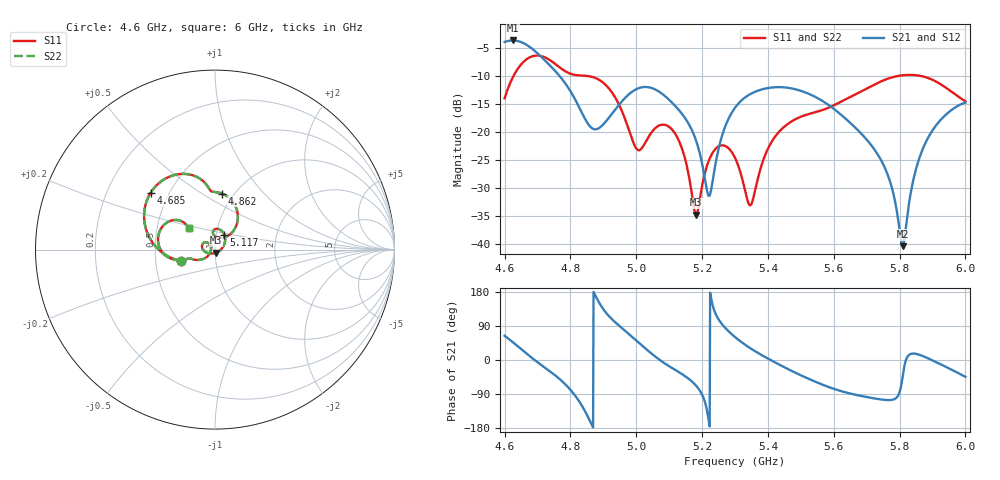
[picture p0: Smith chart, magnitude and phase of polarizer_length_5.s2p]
! TOUCHSTONE file generated by CST MICROWAVE STUDIO
! Date and time: Sun Dec  1 17:16:58 2024
! Project name: test_tuning.cst
! Parameters = {airCoaxOuterDiameter=3; chamferAngle=45; chamferWidth=24; connectorLength=10; drillingHoleDiameter=4.1; feedLength=60; flareDiameter=130; flareLength=70; gratingDistance=0; gratingGap=1.90274; outletLength=30; polarizerLength=72; probe1Diameter=1.3; probe1Distance=14; probe1Length=12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
! Header version: 2024
! Port assignment regex: !\s*Touchstone port\s*([0-9]+)\s*=\s*(CST MWS port|CST DES external port|CST DES block port)\s*(.+)\s* \(\"(.*)\"\)(\s*mode\s*([0-9]+))?.*
! Touchstone port assignment:
! Touchstone port 1 = CST MWS port 1 ("Input1")
! Touchstone port 2 = CST MWS port 2 ("Input2")
# GHz S MA R 50
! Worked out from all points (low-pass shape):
!   1001 points, 4.6 GHz to 6 GHz, reference 50 ohm
!   highest |S21| = -3.59 dB at 4.625 GHz (marker M1); lowest = -40.4 dB at 5.81 GHz (marker M2)
!   |S21| within 3 dB of the highest: start of sweep to 4.713 GHz
!   lowest |S11| = -34.8 dB at 5.182 GHz (marker M3), VSWR 1.04, Z = 50.6 - j1.74 ohm
!   |S11| at or under -10 dB: start of sweep to 4.627 GHz; 4.857 GHz to 5.791 GHz (933.5 MHz wide, 17.5 % of centre); 5.869 GHz to end of sweep
!   |S22| runs from -34.8 to -6.3 dB; largest |S21 - S12| = 3.6e-07
!   S11 on the Smith chart (normalised r, x): 4.6 GHz: 0.68, -0.09; 4.685 GHz: 0.40, +0.33; 4.862 GHz: 0.89, +0.61; 5.117 GHz: 1.09, +0.18; 6 GHz: 0.73, +0.18
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4.6  0.2006 -161.3  0.6413 63.9  0.6413 63.9  0.2006 -161.3
4.6252  0.3105 -179.5  0.6614 46.9  0.6614 46.9  0.3105 -179.5
4.6854  0.4784 138.5  0.5521 3.8  0.5521 3.8  0.4784 138.5
4.761  0.3926 100.4  0.3334 -45.6  0.3334 -45.6  0.3926 100.4
4.8338  0.321 90.5  0.1512 -119.1  0.1512 -119.1  0.321 90.5
4.8618  0.3143 82.6  0.1107 -165.3  0.1107 -165.3  0.3143 82.6
4.9304  0.2171 54.1  0.1514 104.2  0.1514 104.2  0.2171 54.1
5.0032  0.06969 69.8  0.2446 49.0  0.2446 49.0  0.06969 69.8
5.0676  0.1139 89.8  0.2319 2.6  0.2319 2.6  0.1139 89.8
5.1166  0.09837 58.4  0.1736 -25.3  0.1736 -25.3  0.09837 58.4
5.1824  0.0182 -70.8  0.08283 -68.5  0.08283 -68.5  0.0182 -70.8
5.2216  0.05666 -168.0  0.02682 -167.6  0.02682 -167.6  0.05666 -168.0
5.2608  0.07613 159.1  0.09309 94.2  0.09309 94.2  0.07614 159.1
5.3  0.05885 137.3  0.1651 60.6  0.1651 60.6  0.05885 137.3
5.3476  0.02222 -178.9  0.22 30.5  0.22 30.5  0.02223 -178.9
5.4176  0.0875 -142.3  0.2518 -4.4  0.2518 -4.4  0.0875 -142.3
5.5338  0.1479 -160.6  0.2138 -53.5  0.2138 -53.5  0.1479 -160.6
5.6892  0.2366 -166.5  0.0931 -95.9  0.0931 -95.9  0.2366 -166.5
5.7676  0.3031 -179.9  0.03876 -105.8  0.03876 -105.8  0.3031 -179.9
5.8096  0.3227 169.7  0.009528 -42.4  0.009528 -42.4  0.3227 169.7
5.8754  0.3126 152.7  0.0763 8.7  0.0763 8.7  0.3126 152.7
6  0.1884 140.8  0.1835 -44.4  0.1835 -44.4  0.1884 140.8
